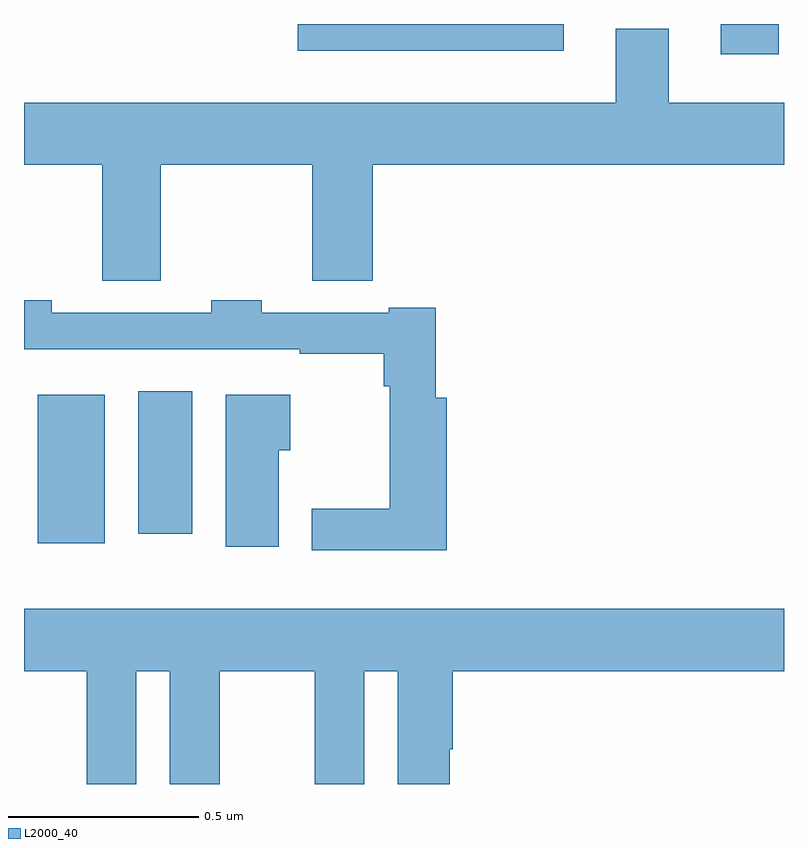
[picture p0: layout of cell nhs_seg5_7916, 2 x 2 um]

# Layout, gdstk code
import gdstk
lib = gdstk.Library(unit=1e-6, precision=1e-09)
def R(c, l, rs):  # rectangles x0, y0, x1, y1
    for r in rs: c.add(gdstk.rectangle(r[:2], r[2:], *l))
def P(c, l, *ps):  # polygons
    for p in ps: c.add(gdstk.Polygon(p, *l))
L2000_40 = (2000, 40)

nhs_seg5_7916 = lib.new_cell('nhs_seg5_7916')
R(nhs_seg5_7916, L2000_40, [(215.036,854.432,215.212,854.824), (215.3,854.457,215.443,854.833), (216.833,855.72,216.986,855.799), (215.721,855.728,216.421,855.799)])
P(nhs_seg5_7916, L2000_40, [(215.36,855.428),(215.758,855.428),(215.758,855.124),(215.918,855.124),(215.918,855.428),(217,855.428),(217,855.592),(216.697,855.592),(216.697,855.787),(216.557,855.787),(216.557,855.592),(215,855.592),(215,855.428),(215.206,855.428),(215.206,855.124),(215.36,855.124)],
  [(216.113,854.815),(216.083,854.815),(216.083,855.052),(215.96,855.052),(215.96,855.039),(215.625,855.039),(215.625,855.072),(215.493,855.072),(215.493,855.039),(215.073,855.039),(215.073,855.072),(215,855.072),(215,854.943),(215.725,854.943),(215.725,854.931),(215.947,854.931),(215.947,854.846),(215.962,854.846),(215.962,854.524),(215.757,854.524),(215.757,854.414),(216.113,854.414)],
  [(215.671,854.677),(215.701,854.677),(215.701,854.824),(215.531,854.824),(215.531,854.424),(215.671,854.424)],
  [(215.296,854.096),(215.384,854.096),(215.384,853.799),(215.515,853.799),(215.515,854.096),(215.765,854.096),(215.765,853.799),(215.896,853.799),(215.896,854.096),(215.984,854.096),(215.984,853.799),(216.121,853.799),(216.121,853.891),(216.128,853.891),(216.128,854.096),(217,854.096),(217,854.26),(215,854.26),(215,854.096),(215.165,854.096),(215.165,853.799),(215.296,853.799)])

lib.write_gds('nhs_seg5_7916.gds')
